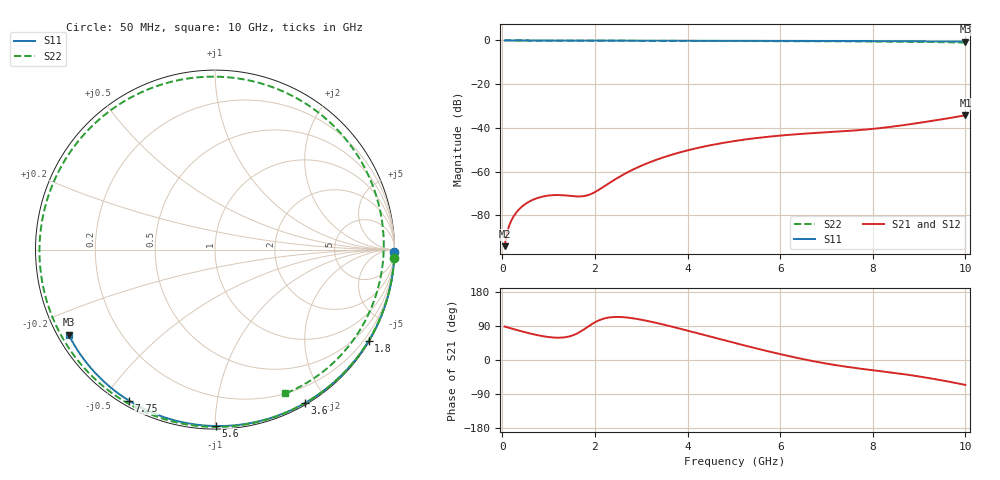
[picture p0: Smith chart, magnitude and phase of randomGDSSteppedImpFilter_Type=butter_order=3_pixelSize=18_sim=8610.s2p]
! freq	dB(S11)	phase(S11)	dB(S12)	phase(S12)
!  dB(S21)	phase(S21)	dB(S22)	phase(S22)
!S-par simulation data
#  GHz  S  DB  R 50
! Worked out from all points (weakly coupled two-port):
!   200 points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, 50 MHz to 10 GHz, reference 50 ohm
!   highest |S21| = -34.20 dB at 10 GHz (marker M1); lowest = -94.0 dB at 50 MHz (marker M2)
!   lowest |S11| = -0.5 dB at 10 GHz (marker M3), VSWR 34.24, Z = 1.57 - j13.4 ohm
!   |S11| at or under -10 dB: nowhere
!   |S22| runs from -1.0 to 0.0 dB; largest |S21 - S12| = 0
!   S11 on the Smith chart (normalised r, x): 50 MHz: open; 1.8 GHz: 0.03, -3.65; 3.6 GHz: 0.02, -1.74; 5.6 GHz: 0.02, -1.00; 7.75 GHz: 0.02, -0.58; 10 GHz: 0.03, -0.27
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0.05  -0.00 -0.9  -94.03 88.3  -94.03 88.3  -0.00 -2.7
0.25  -0.01 -4.3  -80.22 81.3  -80.22 81.3  -0.02 -13.5
0.5  -0.01 -8.6  -74.72 73.0  -74.72 73.0  -0.04 -26.8
0.85  -0.02 -14.6  -71.47 63.4  -71.47 63.4  -0.06 -45.0
1.3  -0.03 -22.2  -70.74 59.3  -70.74 59.3  -0.08 -67.6
1.75  -0.04 -29.8  -71.18 79.6  -71.18 79.6  -0.10 -89.0
1.8  -0.04 -30.6  -70.99 83.7  -70.99 83.7  -0.11 -91.3
2.5  -0.05 -42.2  -62.69 113.6  -62.69 113.6  -0.14 -121.9
2.95  -0.06 -49.5  -57.75 107.5  -57.75 107.5  -0.15 -140.4
3.4  -0.08 -56.6  -54.00 95.8  -54.00 95.8  -0.17 -158.1
3.6  -0.08 -59.8  -52.61 89.9  -52.61 89.9  -0.18 -165.8
4.3  -0.10 -70.5  -48.75 67.9  -48.75 67.9  -0.21 167.6
5.05  -0.13 -81.8  -45.87 44.0  -45.87 44.0  -0.25 139.2
5.6  -0.15 -89.8  -44.35 27.1  -44.35 27.1  -0.28 118.0
6.15  -0.17 -97.6  -43.21 11.4  -43.21 11.4  -0.31 96.2
6.7  -0.21 -105.3  -42.36 -2.7  -42.36 -2.7  -0.35 73.9
7.2  -0.24 -112.1  -41.72 -13.6  -41.72 -13.6  -0.39 53.3
7.75  -0.28 -119.6  -40.91 -23.1  -40.91 -23.1  -0.44 30.3
8.35  -0.33 -127.7  -39.59 -32.2  -39.59 -32.2  -0.52 5.2
8.75  -0.37 -133.0  -38.45 -38.8  -38.45 -38.8  -0.59 -11.4
9.15  -0.41 -138.4  -37.19 -46.5  -37.19 -46.5  -0.68 -28.0
10  -0.51 -149.9  -34.20 -65.7  -34.20 -65.7  -0.99 -63.9
